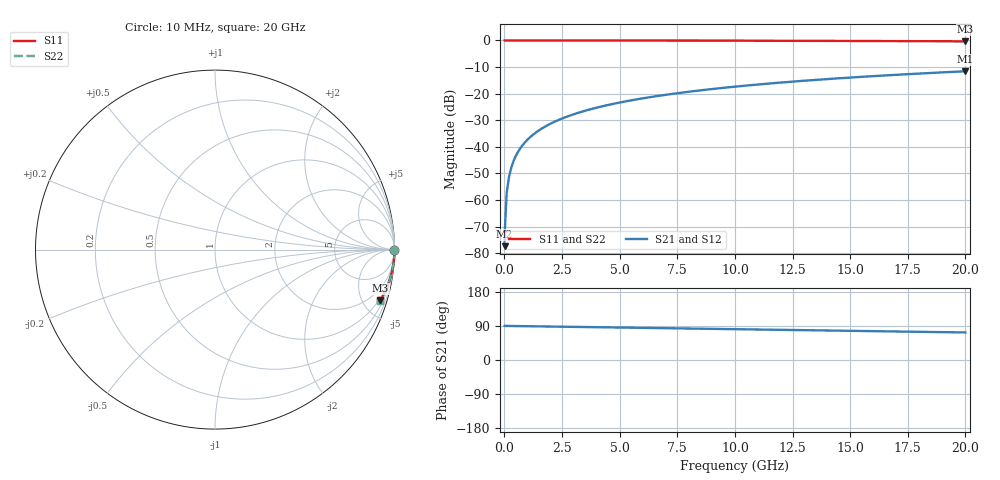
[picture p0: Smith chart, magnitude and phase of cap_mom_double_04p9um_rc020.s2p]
#  GHZ S DB R 50
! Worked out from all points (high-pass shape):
!   202 points, 10 MHz to 20 GHz, reference 50 ohm
!   highest |S21| = -11.58 dB at 20 GHz (marker M1); lowest = -77.3 dB at 10 MHz (marker M2)
!   |S21| within 3 dB of the highest: 13.9 GHz to end of sweep
!   lowest |S11| = -0.3 dB at 20 GHz (marker M3), VSWR 53.37, Z = 41.7 - j327 ohm
!   |S11| at or under -10 dB: nowhere
!   |S22| runs from -0.3 to 0.0 dB; largest |S21 - S12| = 4.2e-14
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0.01  -0.00 -0.0  -77.31 90.0  -77.31 90.0  -0.00 -0.0
0.02  -0.00 -0.0  -71.29 90.0  -71.29 90.0  -0.00 -0.0
0.1  -0.00 -0.1  -57.31 89.9  -57.31 89.9  -0.00 -0.1
0.2  -0.00 -0.2  -51.29 89.8  -51.29 89.8  -0.00 -0.2
0.3  -0.00 -0.3  -47.77 89.8  -47.77 89.8  -0.00 -0.3
0.4  -0.00 -0.4  -45.27 89.7  -45.27 89.7  -0.00 -0.4
0.5  -0.00 -0.4  -43.33 89.6  -43.33 89.6  -0.00 -0.4
0.6  -0.00 -0.5  -41.75 89.5  -41.75 89.5  -0.00 -0.5
0.8  -0.00 -0.7  -39.25 89.3  -39.25 89.3  -0.00 -0.7
1  -0.00 -0.9  -37.31 89.2  -37.31 89.2  -0.00 -0.9
1.3  -0.00 -1.1  -35.03 88.9  -35.03 88.9  -0.00 -1.1
1.6  -0.00 -1.4  -33.23 88.7  -33.23 88.7  -0.00 -1.4
2  -0.00 -1.8  -31.29 88.3  -31.29 88.3  -0.00 -1.8
2.4  -0.01 -2.1  -29.70 88.0  -29.70 88.0  -0.01 -2.1
3.4  -0.01 -3.0  -26.68 87.1  -26.68 87.1  -0.01 -3.0
4.9  -0.02 -4.3  -23.51 85.8  -23.51 85.8  -0.02 -4.3
6.7  -0.04 -5.9  -20.80 84.2  -20.80 84.2  -0.04 -5.9
8.3  -0.06 -7.2  -18.96 82.7  -18.96 82.7  -0.06 -7.3
10.1  -0.09 -8.8  -17.28 81.2  -17.28 81.2  -0.09 -8.8
13.4  -0.15 -11.6  -14.88 78.3  -14.88 78.3  -0.15 -11.6
16.7  -0.23 -14.4  -13.05 75.5  -13.05 75.5  -0.23 -14.4
20  -0.33 -17.1  -11.58 72.7  -11.58 72.7  -0.33 -17.1
